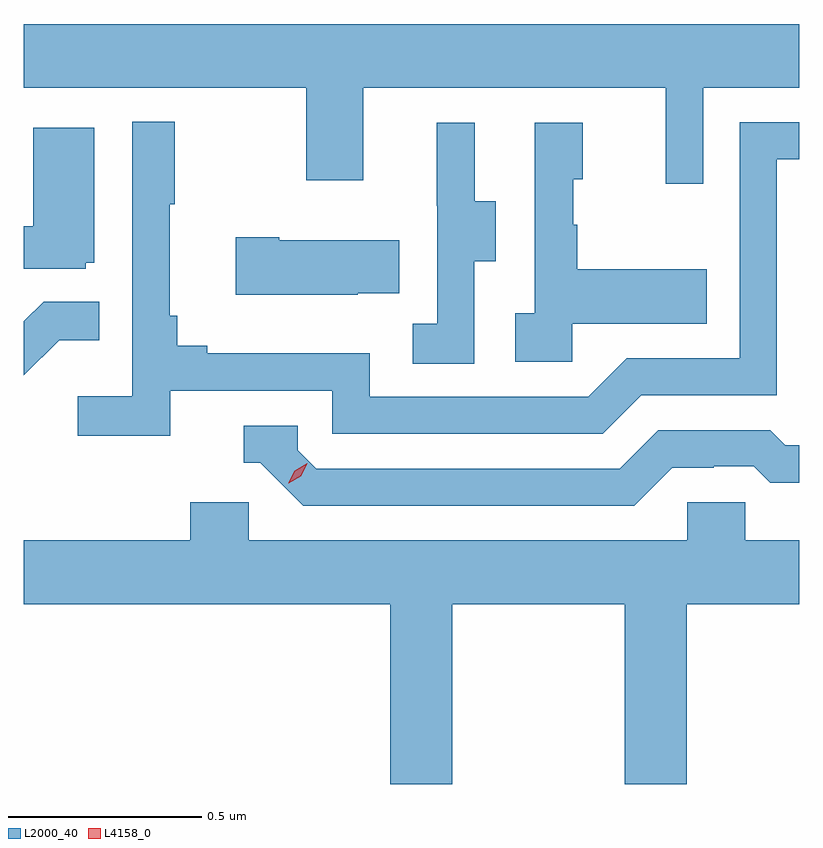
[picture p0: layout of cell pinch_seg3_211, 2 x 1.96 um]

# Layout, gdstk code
import gdstk
lib = gdstk.Library(unit=1e-6, precision=1e-09)
def P(c, l, *ps):  # polygons
    for p in ps: c.add(gdstk.Polygon(p, *l))
L2000_40 = (2000, 40)
L4158_0 = (4158, 0)

pinch_seg3_211 = lib.new_cell('pinch_seg3_211')
P(pinch_seg3_211, L2000_40, [(966.717,742.208),(966.964,742.208),(966.964,742.372),(964.964,742.372),(964.964,742.208),(965.692,742.208),(965.692,741.969),(965.839,741.969),(965.839,742.208),(966.62,742.208),(966.62,741.96),(966.717,741.96)],
  [(965.342,741.426),(965.76,741.426),(965.76,741.315),(966.457,741.315),(966.556,741.414),(966.906,741.414),(966.906,742.023),(966.964,742.023),(966.964,742.119),(966.81,742.119),(966.81,741.51),(966.519,741.51),(966.42,741.411),(965.856,741.411),(965.856,741.523),(965.437,741.523),(965.437,741.542),(965.36,741.542),(965.36,741.619),(965.341,741.619),(965.341,741.907),(965.353,741.907),(965.353,742.12),(965.244,742.12),(965.244,741.412),(965.103,741.412),(965.103,741.31),(965.342,741.31)],
  [(966.126,741.76),(966.181,741.76),(966.181,741.915),(966.127,741.915),(966.127,742.117),(966.029,742.117),(966.029,741.903),(966.03,741.903),(966.03,741.599),(965.967,741.599),(965.967,741.496),(966.126,741.496)],
  [(966.378,741.599),(966.725,741.599),(966.725,741.739),(966.391,741.739),(966.391,741.854),(966.381,741.854),(966.381,741.972),(966.406,741.972),(966.406,742.117),(966.282,742.117),(966.282,741.626),(966.231,741.626),(966.231,741.501),(966.378,741.501)],
  [(965.124,741.756),(965.146,741.756),(965.146,742.105),(964.988,742.105),(964.988,741.85),(964.964,741.85),(964.964,741.741),(965.124,741.741)],
  [(965.825,741.677),(965.933,741.677),(965.933,741.814),(965.623,741.814),(965.623,741.822),(965.511,741.822),(965.511,741.674),(965.825,741.674)],
  [(965.055,741.557),(965.159,741.557),(965.159,741.656),(965.015,741.656),(964.964,741.605),(964.964,741.466)],
  [(966.637,741.228),(966.744,741.228),(966.744,741.231),(966.847,741.231),(966.889,741.189),(966.964,741.189),(966.964,741.285),(966.928,741.285),(966.889,741.324),(966.6,741.324),(966.501,741.225),(965.718,741.225),(965.67,741.273),(965.67,741.336),(965.531,741.336),(965.531,741.24),(965.574,741.24),(965.685,741.129),(966.538,741.129)],
  [(966.069,740.876),(966.514,740.876),(966.514,740.412),(966.674,740.412),(966.674,740.876),(966.964,740.876),(966.964,741.04),(966.825,741.04),(966.825,741.138),(966.675,741.138),(966.675,741.04),(965.544,741.04),(965.544,741.138),(965.393,741.138),(965.393,741.04),(964.964,741.04),(964.964,740.876),(965.909,740.876),(965.909,740.412),(966.069,740.412)])
P(pinch_seg3_211, L4158_0, [(965.646,741.187),(965.646,741.187),(965.663,741.22),(965.695,741.239),(965.695,741.239),(965.695,741.238),(965.678,741.206),(965.647,741.187)])

lib.write_gds('pinch_seg3_211.gds')
